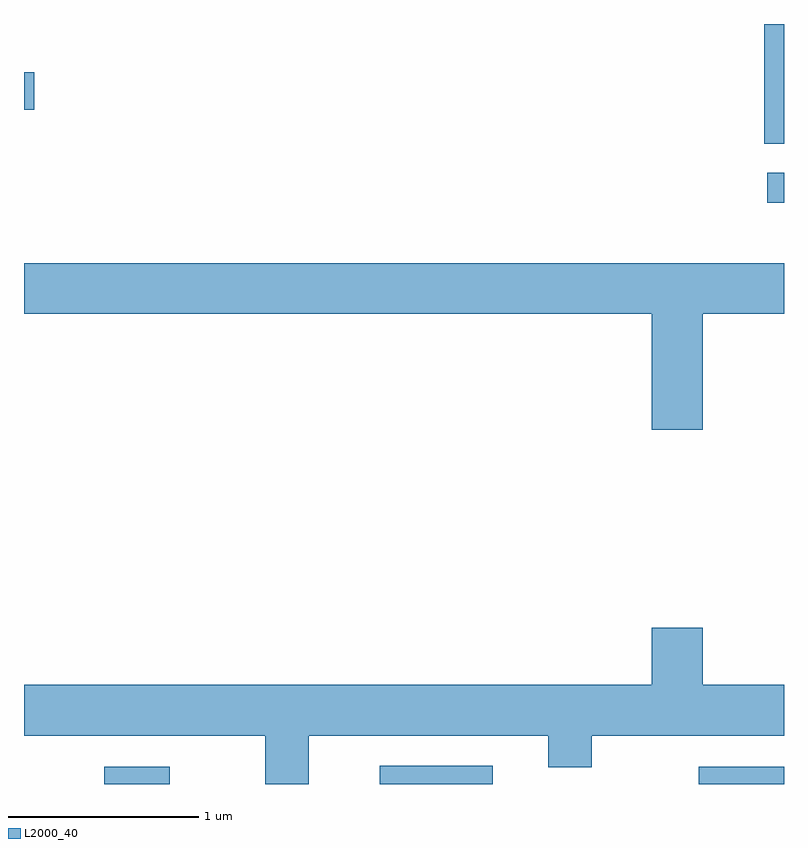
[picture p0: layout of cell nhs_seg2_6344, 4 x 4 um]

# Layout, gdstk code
import gdstk
lib = gdstk.Library(unit=1e-6, precision=1e-09)
def R(c, l, rs):  # rectangles x0, y0, x1, y1
    for r in rs: c.add(gdstk.rectangle(r[:2], r[2:], *l))
def P(c, l, *ps):  # polygons
    for p in ps: c.add(gdstk.Polygon(p, *l))
L2000_40 = (2000, 40)

nhs_seg2_6344 = lib.new_cell('nhs_seg2_6344')
R(nhs_seg2_6344, L2000_40, [(372.033,1085.802,372.379,1085.894), (373.483,1085.802,374.079,1085.899), (375.163,1085.802,375.611,1085.894), (375.523,1088.861,375.611,1089.019), (375.506,1089.171,375.611,1089.802), (371.611,1089.351,371.664,1089.549)])
P(nhs_seg2_6344, L2000_40, [(375.184,1088.276),(375.611,1088.276),(375.611,1088.544),(371.611,1088.544),(371.611,1088.276),(374.916,1088.276),(374.916,1087.666),(375.184,1087.666)],
  [(373.109,1086.056),(374.371,1086.056),(374.371,1085.891),(374.599,1085.891),(374.599,1086.056),(375.611,1086.056),(375.611,1086.324),(375.184,1086.324),(375.184,1086.624),(374.916,1086.624),(374.916,1086.324),(371.611,1086.324),(371.611,1086.056),(372.881,1086.056),(372.881,1085.802),(373.109,1085.802)])

lib.write_gds('nhs_seg2_6344.gds')
